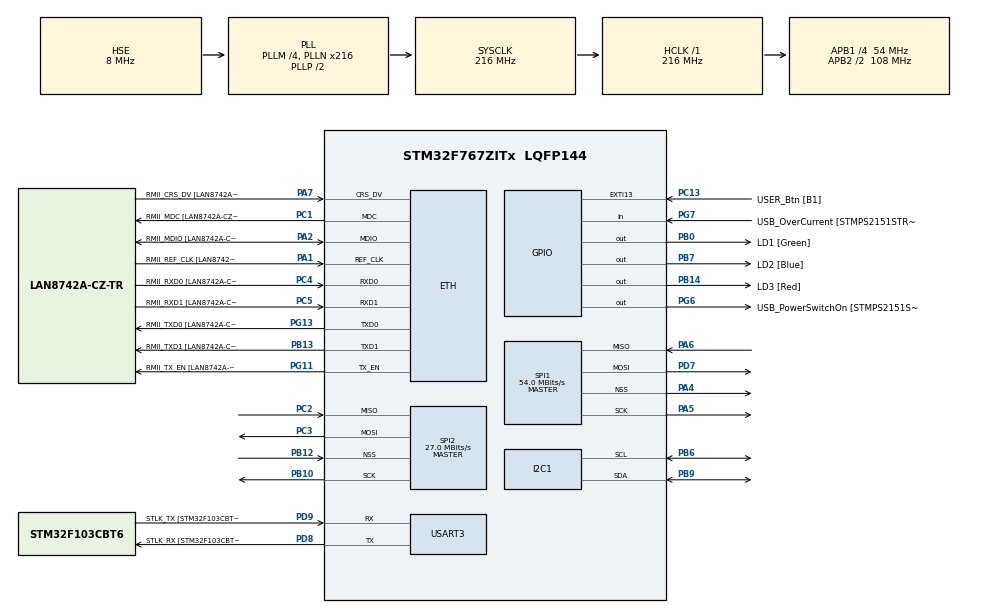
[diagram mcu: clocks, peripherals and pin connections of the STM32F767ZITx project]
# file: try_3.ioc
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PD7.Mode=Full_Duplex_Master
VP_TIM5_VS_ClockSourceINT.Mode=Internal
SPI1.VirtualType=VM_MASTER
SPI2.VirtualType=VM_MASTER
PB10.Mode=Full_Duplex_Master
PB14.GPIO_Label=LD3 [Red]
PG6.GPIO_Label=USB_PowerSwitchOn [STMPS2151STR_EN]
PA14.GPIO_Label=TCK
VP_RTC_VS_RTC_Activate.Mode=RTC_Enabled
PC5.Mode=RMII
PB13.Signal=ETH_TXD1
PG13.Signal=ETH_TXD0
RCC.SYSCLKSource=RCC_SYSCLKSOURCE_PLLCLK
LWIP.LWIP_HTTPD=1
USART3.VirtualMode-Asynchronous=VM_ASYNC
PA4.Mode=NSS_Signal_Hard_Output
NVIC.TIM5_IRQn=true\:5\:0\:false\:false\:true\:true\:true\:true
SPI1.Direction=SPI_DIRECTION_2LINES
RCC.APB2TimFreq_Value=216000000
PB6.Signal=I2C1_SCL
PH1/OSC_OUT.Signal=RCC_OSC_OUT
PB6.Mode=I2C
SPI1.CalculateBaudRate=54.0 MBits/s
PC3.Signal=SPI2_MOSI
PD8.Signal=USART3_TX
PC4.GPIO_Label=RMII_RXD0 [LAN8742A-CZ-TR_RXD0]
NVIC.TIM2_IRQn=true\:5\:0\:false\:false\:true\:true\:true\:true
SPI2.CalculateBaudRate=27.0 MBits/s
PA8.Signal=USB_OTG_FS_SOF
SPI1.VirtualNSS=VM_NSSHARD
ETH.PHY_Name=LAN8742A_PHY_ADDRESS
VP_FREERTOS_VS_CMSIS_V1.Mode=CMSIS_V1
Mcu.Package=LQFP144
PB9.Signal=I2C1_SDA
NVIC.TimeBase=TIM4_IRQn
SPI2.Mode=SPI_MODE_MASTER
NVIC.TimeBaseIP=TIM4
PA10.Signal=USB_OTG_FS_ID
VP_RTC_VS_RTC_Calendar.Mode=RTC_Calendar
RCC.APB2CLKDivider=RCC_HCLK_DIV2
RCC.APB1TimFreq_Value=108000000
PB13.Mode=RMII
PC4.Mode=RMII
PA5.Mode=Full_Duplex_Master
FREERTOS.Tasks01=defaultTask,0,128,StartDefaultTask,Default,NULL,Dynamic,NULL,NULL
PD9.GPIO_Label=STLK_TX [STM32F103CBT6_PA2]
PC13.Signal=GPXTI13
PA9.GPIO_Label=USB_VBUS
PC2.Signal=SPI2_MISO
PD7.Signal=SPI1_MOSI
PA11.GPIO_Label=USB_DM
LWIP.LWIP_DHCP=0
RCC.APB1CLKDivider=RCC_HCLK_DIV4
PG13.GPIO_Label=RMII_TXD0 [LAN8742A-CZ-TR_TXD0]
PA8.GPIO_Label=USB_SOF [TP1]
PA9.Signal=USB_OTG_FS_VBUS
I2C1.Timing=0x20404768
PD8.Mode=Asynchronous
PB10.Signal=SPI2_SCK
PB14.Signal=GPIO_Output
PA5.Signal=SPI1_SCK
wolfSSL.I-CUBE-wolfSSL.4.7.0.wolfSSLCcwolfSSLJjwolfCryptJjTest=true
PA1.Mode=RMII
RCC.PRESCALERUSB=RCC_USBCLKSOURCE_PLL_DIV1_5
SPI1.Mode=SPI_MODE_MASTER
PG7.GPIO_Label=USB_OverCurrent [STMPS2151STR_FAULT]
PA1.GPIO_Label=RMII_REF_CLK [LAN8742A-CZ-TR_REFCLK0]
PA13.Mode=Serial_Wire
PA4.Signal=SPI1_NSS
ETH.MediaInterface=ETH_MEDIA_INTERFACE_RMII
PG11.Mode=RMII
PA11.Signal=USB_OTG_FS_DM
ProjectManager.HeapSize=0x17800
LWIP.Version=v2.1.2_Cube
VP_SYS_VS_tim4.Mode=TIM4
NVIC.PriorityGroup=NVIC_PRIORITYGROUP_4
PC15/OSC32_OUT.Signal=RCC_OSC32_OUT
PB0.Signal=GPIO_Output
PC1.Signal=ETH_MDC
PC1.Mode=RMII
Mcu.Family=STM32F7
PC3.Mode=Full_Duplex_Master
PA6.Mode=Full_Duplex_Master
SPI2.VirtualNSS=VM_NSSHARD
RCC.CortexFreq_Value=216000000
PG6.Signal=GPIO_Output
RCC.SYSCLKSourceVirtual=RCC_SYSCLKSOURCE_PLLCLK
PB0.GPIO_Label=LD1 [Green]
PC14/OSC32_IN.Mode=LSE-External-Oscillator
PC13.GPIO_Label=USER_Btn [B1]
PB13.GPIO_Label=RMII_TXD1 [LAN8742A-CZ-TR_TXD1]
PD9.Mode=Asynchronous
PG11.Signal=ETH_TX_EN
ProjectManager.StackSize=0x1000
PA12.Signal=USB_OTG_FS_DP
ETH.PHY_Value=0
PH0/OSC_IN.Mode=HSE-External-Clock-Source
RCC.HCLKFreq_Value=216000000
RCC.AHBFreq_Value=216000000
NVIC.ETH_IRQn=true\:5\:0\:false\:false\:true\:true\:false\:true
RCC.HSE_VALUE=8000000
RCC.PLLMUL=RCC_PLL_MUL9
PA14.Mode=Serial_Wire
PA10.GPIO_Label=USB_ID
wolfSSL.I-CUBE-wolfSSL.4.7.0.wolfSSLCcwolfSSLJjwolfCryptJjCore=true
PB7.Signal=GPIO_Output
PG13.Mode=RMII
PH1/OSC_OUT.Mode=HSE-External-Clock-Source
PB7.GPIO_Label=LD2 [Blue]
PA6.Signal=SPI1_MISO
PB12.Mode=NSS_Signal_Hard_Input
PC14/OSC32_IN.Signal=RCC_OSC32_IN
PA2.GPIO_Label=RMII_MDIO [LAN8742A-CZ-TR_MDIO]
PG11.GPIO_Label=RMII_TX_EN [LAN8742A-CZ-TR_TXEN]
SPI2.Direction=SPI_DIRECTION_2LINES
PC5.Signal=ETH_RXD1
PB3.GPIO_Label=SWO
RCC.PLLSourceVirtual=RCC_PLLSOURCE_HSE
CORTEX_M7.CPU_ICache=Enabled
PA7.Mode=RMII
PG7.Signal=GPIO_Input
wolfSSL.I-CUBE-wolfSSL.4.7.0.wolfSSLCcwolfSSLJjwolfSSLJjCore=true
PC4.Signal=ETH_RXD0
PC2.Mode=Full_Duplex_Master
PD9.Signal=USART3_RX
VP_RNG_VS_RNG.Mode=RNG_Activate
ETH.PhyAddress=0
PA12.GPIO_Label=USB_DP
VP_LWIP_VS_Enabled.Mode=Enabled
LWIP.LWIP_DNS=1
PD8.GPIO_Label=STLK_RX [STM32F103CBT6_PA3]
PA13.Signal=SYS_JTMS-SWDIO
CORTEX_M7.MPU_Control=MPU_HFNMI_PRIVDEF
ProjectManager.TargetToolchain=TrueSTUDIO
PB9.Mode=I2C
RCC.USBFreq_Value=48000000
PA1.Signal=ETH_REF_CLK
board=NUCLEO-F767ZI
RCC.VCOOutputFreq_Value=432000000
PH0/OSC_IN.Signal=RCC_OSC_IN
RCC.APB2Freq_Value=108000000
VP_TIM2_VS_ClockSourceINT.Mode=Internal
PC1.GPIO_Label=RMII_MDC [LAN8742A-CZ-TR_MDC]
Mcu.Name=STM32F767ZITx
PA2.Signal=ETH_MDIO
PA13.GPIO_Label=TMS
RCC.48MHZClocksFreq_Value=24000000
PB3.Signal=SYS_JTDO-SWO
RCC.SYSCLKFreq_VALUE=216000000
PA7.GPIO_Label=RMII_CRS_DV [LAN8742A-CZ-TR_CRS_DV]
PC5.GPIO_Label=RMII_RXD1 [LAN8742A-CZ-TR_RXD1]
PC15/OSC32_OUT.Mode=LSE-External-Oscillator
PA14.Signal=SYS_JTCK-SWCLK
RCC.HSI_VALUE=16000000
PH0/OSC_IN.GPIO_Label=MCO [STM32F103CBT6_PA8]
RCC.PLLQ=9
RCC.PLLM=4
RCC.PLLN=216
PA2.Mode=RMII
CORTEX_M7.CPU_DCache=Enabled
NVIC.TIM4_IRQn=true\:0\:0\:false\:false\:true\:false\:false\:true
RCC.APB1Freq_Value=54000000
PB12.Signal=SPI2_NSS
PA7.Signal=ETH_CRS_DV
VP_wolfSSL.I-CUBE-wolfSSL_VS_wolfSSLJjwolfSSL_4.7.0.Mode=wolfSSLJjwolfSSL

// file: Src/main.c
/* USER CODE BEGIN Header */
/**
  ******************************************************************************
  * @file           : main.c
  * @brief          : Main program body
  ******************************************************************************
  * @attention
  *
  * <h2><center>&copy; Copyright (c) 2021 STMicroelectronics.
  * All rights reserved.</center></h2>
  *
  * This software component is licensed by ST under Ultimate Liberty license
  * SLA0044, the "License"; You may not use this file except in compliance with
  * the License. You may obtain a copy of the License at:
  *                             www.st.com/SLA0044
  *
  ******************************************************************************
  */
/* USER CODE END Header */
#include "main.h"
#include "cmsis_os.h"
#include "lwip.h"

/* USER CODE BEGIN Includes */
#include "lwip/apps/http_client.h"
#include <stdbool.h>
/* USER CODE END Includes */

I2C_HandleTypeDef hi2c1;

RNG_HandleTypeDef hrng;

RTC_HandleTypeDef hrtc;

SPI_HandleTypeDef hspi1;
SPI_HandleTypeDef hspi2;

TIM_HandleTypeDef htim2;
TIM_HandleTypeDef htim5;

UART_HandleTypeDef huart3;

osThreadId defaultTaskHandle;
/* USER CODE BEGIN PV */
char buf[100];
/* USER CODE END PV */

void SystemClock_Config(void);
static void MPU_Config(void);
static void MX_GPIO_Init(void);
static void MX_I2C1_Init(void);
static void MX_RNG_Init(void);
static void MX_RTC_Init(void);
static void MX_SPI1_Init(void);
static void MX_SPI2_Init(void);
static void MX_TIM2_Init(void);
static void MX_TIM5_Init(void);
static void MX_USART3_UART_Init(void);
void StartDefaultTask(void const * argument);

/* USER CODE BEGIN PFP */
void HttpClientResultCallback (void *arg, httpc_result_t httpc_result, u32_t
rx_content_len, u32_t srv_res, err_t err) ;
err_t RecvHttpHeaderCallback (httpc_state_t *connection, void *arg, struct
pbuf *hdr, u16_t hdr_len, u32_t content_len);
bool timerequestflag=false;
char timerbuffer[275];
uint8_t aShowTime[50] = {0};
RTC_TimeTypeDef sTime = {0};
RTC_DateTypeDef sDate = {0};
uint8_t aShowDate[50] = {0};
static void RTC_CalendarShow(uint8_t *showtime, uint8_t *showdate);
/* USER CODE END PFP */

/* USER CODE BEGIN 0 */

#if (defined(__GNUC__) && !defined(__CC_ARM))
/* With GCC/RAISONANCE, small printf (option LD Linker->Libraries->Small printf
   set to 'Yes') calls __io_putchar() */
#define PUTCHAR_PROTOTYPE int __io_putchar(int ch)
#define GETCHAR_PROTOTYPE int __io_getchar(void)
#else
#define PUTCHAR_PROTOTYPE int fputc(int ch, FILE *f)
#define GETCHAR_PROTOTYPE int fgetc(FILE *f)
#endif /* __GNUC__ */

/**
  * @brief  Retargets the C library printf function to the USART.
  * @param  None
  * @retval None
  */
PUTCHAR_PROTOTYPE
{
  /* Place your implementation of fputc here */
  /* e.g. write a character to the USART2 and Loop until the end of transmission */
  while (HAL_OK != HAL_UART_Transmit(&huart3, (uint8_t *) &ch, 1, 30000))
  {
    ;
  }
  return ch;
}

/**
  * @brief  Retargets the C library scanf function to the USART.
  * @param  None
  * @retval None
  */
GETCHAR_PROTOTYPE
{
  /* Place your implementation of fgetc here */
  /* e.g. read a character on USART and loop until the end of read */
  uint8_t ch = 0;
  while (HAL_OK != HAL_UART_Receive(&huart3, (uint8_t *)&ch, 1, 30000))
  {
    ;
  }
  return ch;
}
ip4_addr_t resolved;
static void RTC_CalendarShow(uint8_t *showtime, uint8_t *showdate)
{
  RTC_DateTypeDef sdatestructureget;
  RTC_TimeTypeDef stimestructureget;

  /* Get the RTC current Time */
  HAL_RTC_GetTime(&hrtc, &stimestructureget, RTC_FORMAT_BIN);
  /* Get the RTC current Date */
  HAL_RTC_GetDate(&hrtc, &sdatestructureget, RTC_FORMAT_BIN);
  /* Display time Format : hh:mm:ss */
  sprintf((char *)showtime, "time %d:%d:%d\n\r", stimestructureget.Hours, stimestructureget.Minutes, stimestructureget.Seconds);
  HAL_UART_Transmit(&huart3,showtime,strlen(showtime),1000);
  /* Display date Format : mm-dd-yy */
  sprintf((char *)showdate, "date %d-%d-%d\n\r", sdatestructureget.Date, sdatestructureget.Month,sdatestructureget.Year);
	HAL_UART_Transmit(&huart3,showdate,strlen(showdate),1000);

}
/* USER CODE END 0 */

int main(void)
{

  /* MPU Configuration--------------------------------------------------------*/
  MPU_Config();

  /* Enable I-Cache---------------------------------------------------------*/
  SCB_EnableICache();

  /* Enable D-Cache---------------------------------------------------------*/
  SCB_EnableDCache();

  /* MCU Configuration--------------------------------------------------------*/

  /* Reset of all peripherals, Initializes the Flash interface and the Systick. */
  HAL_Init();

  /* Configure the system clock */
  SystemClock_Config();

  /* Initialize all configured peripherals */
  MX_GPIO_Init();
  MX_I2C1_Init();
  MX_RNG_Init();
  MX_RTC_Init();
  MX_SPI1_Init();
  MX_SPI2_Init();
  MX_TIM2_Init();
  MX_TIM5_Init();
  MX_USART3_UART_Init();

  /* Create the thread(s) */
  /* definition and creation of defaultTask */
  osThreadDef(defaultTask, StartDefaultTask, osPriorityNormal, 0, 1024);
  defaultTaskHandle = osThreadCreate(osThread(defaultTask), NULL);

  /* Start scheduler */
  osKernelStart();

  /* We should never get here as control is now taken by the scheduler */
  /* Infinite loop */
  while (1)
  {

  }
}

void SystemClock_Config(void)
{
  RCC_OscInitTypeDef RCC_OscInitStruct = {0};
  RCC_ClkInitTypeDef RCC_ClkInitStruct = {0};
  RCC_PeriphCLKInitTypeDef PeriphClkInitStruct = {0};

  /** Configure LSE Drive Capability
  */
  HAL_PWR_EnableBkUpAccess();
  /** Configure the main internal regulator output voltage
  */
  __HAL_RCC_PWR_CLK_ENABLE();
  __HAL_PWR_VOLTAGESCALING_CONFIG(PWR_REGULATOR_VOLTAGE_SCALE1);
  /** Initializes the RCC Oscillators according to the specified parameters
  * in the RCC_OscInitTypeDef structure.
  */
  RCC_OscInitStruct.OscillatorType = RCC_OSCILLATORTYPE_LSI|RCC_OSCILLATORTYPE_HSE;
  RCC_OscInitStruct.HSEState = RCC_HSE_BYPASS;
  RCC_OscInitStruct.LSIState = RCC_LSI_ON;
  RCC_OscInitStruct.PLL.PLLState = RCC_PLL_ON;
  RCC_OscInitStruct.PLL.PLLSource = RCC_PLLSOURCE_HSE;
  RCC_OscInitStruct.PLL.PLLM = 4;
  RCC_OscInitStruct.PLL.PLLN = 216;
  RCC_OscInitStruct.PLL.PLLP = RCC_PLLP_DIV2;
  RCC_OscInitStruct.PLL.PLLQ = 9;
  if (HAL_RCC_OscConfig(&RCC_OscInitStruct) != HAL_OK)
  {
    Error_Handler();
  }
  /** Activate the Over-Drive mode
  */
  if (HAL_PWREx_EnableOverDrive() != HAL_OK)
  {
    Error_Handler();
  }
  /** Initializes the CPU, AHB and APB buses clocks
  */
  RCC_ClkInitStruct.ClockType = RCC_CLOCKTYPE_HCLK|RCC_CLOCKTYPE_SYSCLK
                              |RCC_CLOCKTYPE_PCLK1|RCC_CLOCKTYPE_PCLK2;
  RCC_ClkInitStruct.SYSCLKSource = RCC_SYSCLKSOURCE_PLLCLK;
  RCC_ClkInitStruct.AHBCLKDivider = RCC_SYSCLK_DIV1;
  RCC_ClkInitStruct.APB1CLKDivider = RCC_HCLK_DIV4;
  RCC_ClkInitStruct.APB2CLKDivider = RCC_HCLK_DIV2;

  if (HAL_RCC_ClockConfig(&RCC_ClkInitStruct, FLASH_LATENCY_7) != HAL_OK)
  {
    Error_Handler();
  }
  PeriphClkInitStruct.PeriphClockSelection = RCC_PERIPHCLK_RTC|RCC_PERIPHCLK_USART3
                              |RCC_PERIPHCLK_I2C1|RCC_PERIPHCLK_CLK48;
  PeriphClkInitStruct.RTCClockSelection = RCC_RTCCLKSOURCE_LSI;
  PeriphClkInitStruct.Usart3ClockSelection = RCC_USART3CLKSOURCE_PCLK1;
  PeriphClkInitStruct.I2c1ClockSelection = RCC_I2C1CLKSOURCE_PCLK1;
  PeriphClkInitStruct.Clk48ClockSelection = RCC_CLK48SOURCE_PLL;
  if (HAL_RCCEx_PeriphCLKConfig(&PeriphClkInitStruct) != HAL_OK)
  {
    Error_Handler();
  }
}

static void MX_I2C1_Init(void)
{

  hi2c1.Instance = I2C1;
  hi2c1.Init.Timing = 0x20404768;
  hi2c1.Init.OwnAddress1 = 0;
  hi2c1.Init.AddressingMode = I2C_ADDRESSINGMODE_7BIT;
  hi2c1.Init.DualAddressMode = I2C_DUALADDRESS_DISABLE;
  hi2c1.Init.OwnAddress2 = 0;
  hi2c1.Init.OwnAddress2Masks = I2C_OA2_NOMASK;
  hi2c1.Init.GeneralCallMode = I2C_GENERALCALL_DISABLE;
  hi2c1.Init.NoStretchMode = I2C_NOSTRETCH_DISABLE;
  if (HAL_I2C_Init(&hi2c1) != HAL_OK)
  {
    Error_Handler();
  }
  /** Configure Analogue filter
  */
  if (HAL_I2CEx_ConfigAnalogFilter(&hi2c1, I2C_ANALOGFILTER_ENABLE) != HAL_OK)
  {
    Error_Handler();
  }
  /** Configure Digital filter
  */
  if (HAL_I2CEx_ConfigDigitalFilter(&hi2c1, 0) != HAL_OK)
  {
    Error_Handler();
  }

}

static void MX_RNG_Init(void)
{

  hrng.Instance = RNG;
  if (HAL_RNG_Init(&hrng) != HAL_OK)
  {
    Error_Handler();
  }

}

static void MX_RTC_Init(void)
{

  RTC_TimeTypeDef sTime = {0};
  RTC_DateTypeDef sDate = {0};

  /** Initialize RTC Only
  */
  hrtc.Instance = RTC;
  hrtc.Init.HourFormat = RTC_HOURFORMAT_24;
  hrtc.Init.AsynchPrediv = 127;
  hrtc.Init.SynchPrediv = 255;
  hrtc.Init.OutPut = RTC_OUTPUT_DISABLE;
  hrtc.Init.OutPutPolarity = RTC_OUTPUT_POLARITY_HIGH;
  hrtc.Init.OutPutType = RTC_OUTPUT_TYPE_OPENDRAIN;
  if (HAL_RTC_Init(&hrtc) != HAL_OK)
  {
    Error_Handler();
  }

  /** Initialize RTC and set the Time and Date
  */
  sTime.Hours = 0x0;
  sTime.Minutes = 0x0;
  sTime.Seconds = 0x0;
  sTime.DayLightSaving = RTC_DAYLIGHTSAVING_NONE;
  sTime.StoreOperation = RTC_STOREOPERATION_RESET;
  if (HAL_RTC_SetTime(&hrtc, &sTime, RTC_FORMAT_BCD) != HAL_OK)
  {
    Error_Handler();
  }
  sDate.WeekDay = RTC_WEEKDAY_MONDAY;
  sDate.Month = RTC_MONTH_JANUARY;
  sDate.Date = 0x1;
  sDate.Year = 0x0;

  if (HAL_RTC_SetDate(&hrtc, &sDate, RTC_FORMAT_BCD) != HAL_OK)
  {
    Error_Handler();
  }

}

static void MX_SPI1_Init(void)
{

  /* SPI1 parameter configuration*/
  hspi1.Instance = SPI1;
  hspi1.Init.Mode = SPI_MODE_MASTER;
  hspi1.Init.Direction = SPI_DIRECTION_2LINES;
  hspi1.Init.DataSize = SPI_DATASIZE_4BIT;
  hspi1.Init.CLKPolarity = SPI_POLARITY_LOW;
  hspi1.Init.CLKPhase = SPI_PHASE_1EDGE;
  hspi1.Init.NSS = SPI_NSS_HARD_OUTPUT;
  hspi1.Init.BaudRatePrescaler = SPI_BAUDRATEPRESCALER_2;
  hspi1.Init.FirstBit = SPI_FIRSTBIT_MSB;
  hspi1.Init.TIMode = SPI_TIMODE_DISABLE;
  hspi1.Init.CRCCalculation = SPI_CRCCALCULATION_DISABLE;
  hspi1.Init.CRCPolynomial = 7;
  hspi1.Init.CRCLength = SPI_CRC_LENGTH_DATASIZE;
  hspi1.Init.NSSPMode = SPI_NSS_PULSE_ENABLE;
  if (HAL_SPI_Init(&hspi1) != HAL_OK)
  {
    Error_Handler();
  }

}

static void MX_SPI2_Init(void)
{

  /* SPI2 parameter configuration*/
  hspi2.Instance = SPI2;
  hspi2.Init.Mode = SPI_MODE_MASTER;
  hspi2.Init.Direction = SPI_DIRECTION_2LINES;
  hspi2.Init.DataSize = SPI_DATASIZE_4BIT;
  hspi2.Init.CLKPolarity = SPI_POLARITY_LOW;
  hspi2.Init.CLKPhase = SPI_PHASE_1EDGE;
  hspi2.Init.NSS = SPI_NSS_HARD_INPUT;
  hspi2.Init.BaudRatePrescaler = SPI_BAUDRATEPRESCALER_2;
  hspi2.Init.FirstBit = SPI_FIRSTBIT_MSB;
  hspi2.Init.TIMode = SPI_TIMODE_DISABLE;
  hspi2.Init.CRCCalculation = SPI_CRCCALCULATION_DISABLE;
  hspi2.Init.CRCPolynomial = 7;
  hspi2.Init.CRCLength = SPI_CRC_LENGTH_DATASIZE;
  hspi2.Init.NSSPMode = SPI_NSS_PULSE_ENABLE;
  if (HAL_SPI_Init(&hspi2) != HAL_OK)
  {
    Error_Handler();
  }

}

static void MX_TIM2_Init(void)
{

  TIM_ClockConfigTypeDef sClockSourceConfig = {0};
  TIM_MasterConfigTypeDef sMasterConfig = {0};

  htim2.Instance = TIM2;
  htim2.Init.Prescaler = 0;
  htim2.Init.CounterMode = TIM_COUNTERMODE_UP;
  htim2.Init.Period = 4294967295;
  htim2.Init.ClockDivision = TIM_CLOCKDIVISION_DIV1;
  htim2.Init.AutoReloadPreload = TIM_AUTORELOAD_PRELOAD_DISABLE;
  if (HAL_TIM_Base_Init(&htim2) != HAL_OK)
  {
    Error_Handler();
  }
  sClockSourceConfig.ClockSource = TIM_CLOCKSOURCE_INTERNAL;
  if (HAL_TIM_ConfigClockSource(&htim2, &sClockSourceConfig) != HAL_OK)
  {
    Error_Handler();
  }
  sMasterConfig.MasterOutputTrigger = TIM_TRGO_RESET;
  sMasterConfig.MasterSlaveMode = TIM_MASTERSLAVEMODE_DISABLE;
  if (HAL_TIMEx_MasterConfigSynchronization(&htim2, &sMasterConfig) != HAL_OK)
  {
    Error_Handler();
  }

}

static void MX_TIM5_Init(void)
{

  TIM_ClockConfigTypeDef sClockSourceConfig = {0};
  TIM_MasterConfigTypeDef sMasterConfig = {0};

  htim5.Instance = TIM5;
  htim5.Init.Prescaler = 0;
  htim5.Init.CounterMode = TIM_COUNTERMODE_UP;
  htim5.Init.Period = 4294967295;
  htim5.Init.ClockDivision = TIM_CLOCKDIVISION_DIV1;
  htim5.Init.AutoReloadPreload = TIM_AUTORELOAD_PRELOAD_DISABLE;
  if (HAL_TIM_Base_Init(&htim5) != HAL_OK)
  {
    Error_Handler();
  }
  sClockSourceConfig.ClockSource = TIM_CLOCKSOURCE_INTERNAL;
  if (HAL_TIM_ConfigClockSource(&htim5, &sClockSourceConfig) != HAL_OK)
  {
    Error_Handler();
  }
  sMasterConfig.MasterOutputTrigger = TIM_TRGO_RESET;
  sMasterConfig.MasterSlaveMode = TIM_MASTERSLAVEMODE_DISABLE;
  if (HAL_TIMEx_MasterConfigSynchronization(&htim5, &sMasterConfig) != HAL_OK)
  {
    Error_Handler();
  }

}

static void MX_USART3_UART_Init(void)
{

  huart3.Instance = USART3;
  huart3.Init.BaudRate = 115200;
  huart3.Init.WordLength = UART_WORDLENGTH_8B;
  huart3.Init.StopBits = UART_STOPBITS_1;
  huart3.Init.Parity = UART_PARITY_NONE;
  huart3.Init.Mode = UART_MODE_TX_RX;
  huart3.Init.HwFlowCtl = UART_HWCONTROL_NONE;
  huart3.Init.OverSampling = UART_OVERSAMPLING_16;
  huart3.Init.OneBitSampling = UART_ONE_BIT_SAMPLE_DISABLE;
  huart3.AdvancedInit.AdvFeatureInit = UART_ADVFEATURE_NO_INIT;
  if (HAL_UART_Init(&huart3) != HAL_OK)
  {
    Error_Handler();
  }

}

static void MX_GPIO_Init(void)
{
  GPIO_InitTypeDef GPIO_InitStruct = {0};

  /* GPIO Ports Clock Enable */
  __HAL_RCC_GPIOC_CLK_ENABLE();
  __HAL_RCC_GPIOH_CLK_ENABLE();
  __HAL_RCC_GPIOA_CLK_ENABLE();
  __HAL_RCC_GPIOB_CLK_ENABLE();
  __HAL_RCC_GPIOD_CLK_ENABLE();
  __HAL_RCC_GPIOG_CLK_ENABLE();

  /*Configure GPIO pin Output Level */
  HAL_GPIO_WritePin(GPIOB, LD1_Pin|LD3_Pin|LD2_Pin, GPIO_PIN_RESET);

  /*Configure GPIO pin Output Level */
  HAL_GPIO_WritePin(USB_PowerSwitchOn_GPIO_Port, USB_PowerSwitchOn_Pin, GPIO_PIN_RESET);

  /*Configure GPIO pin : USER_Btn_Pin */
  GPIO_InitStruct.Pin = USER_Btn_Pin;
  GPIO_InitStruct.Mode = GPIO_MODE_IT_RISING;
  GPIO_InitStruct.Pull = GPIO_NOPULL;
  HAL_GPIO_Init(USER_Btn_GPIO_Port, &GPIO_InitStruct);

  /*Configure GPIO pins : LD1_Pin LD3_Pin LD2_Pin */
  GPIO_InitStruct.Pin = LD1_Pin|LD3_Pin|LD2_Pin;
  GPIO_InitStruct.Mode = GPIO_MODE_OUTPUT_PP;
  GPIO_InitStruct.Pull = GPIO_NOPULL;
  GPIO_InitStruct.Speed = GPIO_SPEED_FREQ_LOW;
  HAL_GPIO_Init(GPIOB, &GPIO_InitStruct);

  /*Configure GPIO pin : USB_PowerSwitchOn_Pin */
  GPIO_InitStruct.Pin = USB_PowerSwitchOn_Pin;
  GPIO_InitStruct.Mode = GPIO_MODE_OUTPUT_PP;
  GPIO_InitStruct.Pull = GPIO_NOPULL;
  GPIO_InitStruct.Speed = GPIO_SPEED_FREQ_LOW;
  HAL_GPIO_Init(USB_PowerSwitchOn_GPIO_Port, &GPIO_InitStruct);

  /*Configure GPIO pin : USB_OverCurrent_Pin */
  GPIO_InitStruct.Pin = USB_OverCurrent_Pin;
  GPIO_InitStruct.Mode = GPIO_MODE_INPUT;
  GPIO_InitStruct.Pull = GPIO_NOPULL;
  HAL_GPIO_Init(USB_OverCurrent_GPIO_Port, &GPIO_InitStruct);

  /*Configure GPIO pins : USB_SOF_Pin USB_ID_Pin USB_DM_Pin USB_DP_Pin */
  GPIO_InitStruct.Pin = USB_SOF_Pin|USB_ID_Pin|USB_DM_Pin|USB_DP_Pin;
  GPIO_InitStruct.Mode = GPIO_MODE_AF_PP;
  GPIO_InitStruct.Pull = GPIO_NOPULL;
  GPIO_InitStruct.Speed = GPIO_SPEED_FREQ_VERY_HIGH;
  GPIO_InitStruct.Alternate = GPIO_AF10_OTG_FS;
  HAL_GPIO_Init(GPIOA, &GPIO_InitStruct);

  /*Configure GPIO pin : USB_VBUS_Pin */
  GPIO_InitStruct.Pin = USB_VBUS_Pin;
  GPIO_InitStruct.Mode = GPIO_MODE_INPUT;
  GPIO_InitStruct.Pull = GPIO_NOPULL;
  HAL_GPIO_Init(USB_VBUS_GPIO_Port, &GPIO_InitStruct);

}

/* USER CODE BEGIN 4 */

err_t RecvpayloadCallback(void *arg, struct tcp_pcb *tpcb, struct pbuf *p,
		err_t err){
	HAL_GPIO_TogglePin(LD1_GPIO_Port,LD1_Pin);
//	sprintf(buf,"RecvpayloadCallback\n");
	// HAL_UART_Transmit(&huart3,buf,strlen(buf),1000);
	 if (p == NULL) {sprintf(buf,"pbuf==Null\n");
	 HAL_UART_Transmit(&huart3,buf,strlen(buf),1000);
	 }
	 else{
		 strncpy(timerbuffer, p->payload, 270);
		 sprintf(buf,"timerbuffer :%s\n\r",timerbuffer);
	HAL_UART_Transmit(&huart3,buf,strlen(buf),1000);
	 }
	 timerequestflag=true;

	 pbuf_free(p);
	 return ERR_OK;
}
err_t RecvHttpHeaderCallback (httpc_state_t *connection, void *arg, struct
pbuf *hdr, u16_t hdr_len, u32_t content_len) {
	HAL_GPIO_TogglePin(LD2_GPIO_Port,LD2_Pin);
   sprintf(buf,"RecvHttpHeaderCallback error");
	HAL_UART_Transmit(&huart3,buf,strlen(buf),1000);
   return ERR_OK;
}
void HttpClientResultCallback (void *arg, httpc_result_t httpc_result, u32_t
rx_content_len, u32_t srv_res, err_t err) {
	HAL_GPIO_TogglePin(LD3_GPIO_Port,LD3_Pin);
	sprintf(buf,"HttpClientResultCallback \n\r");
	HAL_UART_Transmit(&huart3,buf,strlen(buf),1000);
	sprintf(buf,"httpc_result: %u\n", httpc_result);
	HAL_UART_Transmit(&huart3,buf,strlen(buf),1000);
	sprintf(buf,"received number of bytes: %lu\n", rx_content_len);

}

/* USER CODE END 4 */

void StartDefaultTask(void const * argument)
{
  /* init code for LWIP */
	volatile uint8_t years[2], Month[2], hours[2], mintues[2], days[2], second[2];

  MX_LWIP_Init();

  /* USER CODE BEGIN 5 */
  int i;
   int r;
 // httpd_init();

   uint16_t years_int, Month_int, hours_int, mintues_int, days_int, second_int;
  char url[500];
  char domain_name[30];
  volatile uint16_t h=0;
  httpc_connection_t *conn_settings;
  httpc_state_t *connection;
  conn_settings->use_proxy = 0;   //no proxy usage
  conn_settings->headers_done_fn = RecvHttpHeaderCallback;
  conn_settings->result_fn = HttpClientResultCallback;
  strcpy(domain_name, "api.timezonedb.com");
  strcpy(url, "/v2.1/get-time-zone?key=H77HZBELV1YH&format=json&by=zone&zone=Africa/Cairo");
  sprintf(buf,"url:\n%s\n", url);
  HAL_UART_Transmit(&huart3,buf,strlen(buf),1000);
  HAL_UART_Transmit(&huart3,"\n\r",2,1000);
  err_t error;
  //dns_gethostbyname();
  error = httpc_get_file_dns(domain_name, 80, url, conn_settings,RecvpayloadCallback, NULL, &connection);   //Send HTTP message
  sprintf(buf,"\n\rerror: %d\n", error);
  HAL_UART_Transmit(&huart3,buf,strlen(buf),1000);
  osDelay(5000);
  while(timerequestflag!=true){
  	HAL_GPIO_TogglePin(LD2_GPIO_Port,LD2_Pin);
  	osDelay(50);
  	h++;
  	if(h>800){
  		sprintf(buf,"timeout with dns \n");
  		HAL_UART_Transmit(&huart3,buf,strlen(buf),1000);
  		 timerequestflag=true;
  	}
  }

  char * pch;
  h=0;
  pch = strstr (timerbuffer,"formatted");
  for(int j=0;j<33;j++){
  switch (j){
  case 14:
  years[0] = *(pch);break;
  case 15:
  years[1] = *(pch);break;
  case 17:
  Month[0] = *(pch);break;
  case 18:
  Month[1] = *(pch);break;
  case 20:
  days[0] = *(pch);break;
  case 21:
  days[1] = *(pch);break;
  case 23:
  hours[0] = *(pch);break;
  case 24:
  hours[1] = *(pch);break;
  case 26:
  mintues[0] = *(pch);break;
  case 27:
  mintues[1] = *(pch);break;
  case 29:
  second[0] = *(pch);break;
  case 30:
  second[1] = *(pch);break;
  default:
      break;}
  	*pch++;
  }
  years_int = atoi(years);
  sprintf(buf,"Value years is %d \n\r",years_int);
  HAL_UART_Transmit(&huart3,buf,strlen(buf),1000);
  Month_int = atoi(Month);
  sprintf(buf,"Value  Mon:%d \n\r",Month_int);HAL_UART_Transmit(&huart3,buf,strlen(buf),1000);
  days_int = atoi(days);
  sprintf(buf,"Value  days:%d \n\r",days_int);HAL_UART_Transmit(&huart3,buf,strlen(buf),1000);
  hours_int = atoi(hours);
  sprintf(buf,"Value  ho:%d \n\r",hours_int);HAL_UART_Transmit(&huart3,buf,strlen(buf),1000);
  mintues_int = atoi(mintues);
  sprintf(buf,"Value mintues is %d \n\r",mintues_int);
  HAL_UART_Transmit(&huart3,buf,strlen(buf),1000);
  second_int = atoi(second);
  sprintf(buf,"Value second is %d \n\r",second_int);
  HAL_UART_Transmit(&huart3,buf,strlen(buf),1000);

  if (HAL_RTC_Init(&hrtc) != HAL_OK)
   {
     Error_Handler();
   }

  sDate.Year=years_int;
  sDate.Month=Month_int;
  sDate.Date=days_int;

  if(HAL_RTC_SetDate(&hrtc,&sDate,RTC_FORMAT_BIN) != HAL_OK)
   {
     Error_Handler();
   }
  sTime.Hours=hours_int;
  sTime.Minutes=mintues_int;
  sTime.Seconds=second_int;
  if (HAL_RTC_SetTime(&hrtc, &sTime, RTC_FORMAT_BIN) != HAL_OK)
  {
    Error_Handler();
  }
  /* Infinite loop */
  for(;;)
  {
	// RTC_CalendarShow(aShowTime, aShowDate);
	 HAL_GPIO_TogglePin(LD3_GPIO_Port,LD3_Pin);
	 osDelay(1000);

  }
  /* USER CODE END 5 */
}

/* MPU Configuration */

void MPU_Config(void)
{

  /* Disables the MPU */
	MPU_Region_InitTypeDef MPU_InitStruct;
	/* Disable the MPU */
	HAL_MPU_Disable();
	/* Configure the MPU as Normal Non Cacheable for Ethernet Buffers in the SRAM2 */
	MPU_InitStruct.Enable = MPU_REGION_ENABLE;
	MPU_InitStruct.BaseAddress = 0x2007C000;
	MPU_InitStruct.Size = MPU_REGION_SIZE_16KB;
	MPU_InitStruct.AccessPermission = MPU_REGION_FULL_ACCESS;
	MPU_InitStruct.IsBufferable = MPU_ACCESS_NOT_BUFFERABLE;
	MPU_InitStruct.IsCacheable = MPU_ACCESS_NOT_CACHEABLE;
	MPU_InitStruct.IsShareable = MPU_ACCESS_SHAREABLE;
	MPU_InitStruct.Number = MPU_REGION_NUMBER0;
	MPU_InitStruct.TypeExtField = MPU_TEX_LEVEL1;
	MPU_InitStruct.SubRegionDisable = 0x00;
	MPU_InitStruct.DisableExec = MPU_INSTRUCTION_ACCESS_ENABLE;
	HAL_MPU_ConfigRegion(&MPU_InitStruct);
	/* Configure the MPU as Device for Ethernet Descriptors in the SRAM2 */
	MPU_InitStruct.Enable = MPU_REGION_ENABLE;
	MPU_InitStruct.BaseAddress = 0x2007C000;
	MPU_InitStruct.Size = MPU_REGION_SIZE_256B;
	MPU_InitStruct.AccessPermission = MPU_REGION_FULL_ACCESS;
	MPU_InitStruct.IsBufferable = MPU_ACCESS_BUFFERABLE;
	MPU_InitStruct.IsCacheable = MPU_ACCESS_NOT_CACHEABLE;
	MPU_InitStruct.IsShareable = MPU_ACCESS_SHAREABLE;
	MPU_InitStruct.Number = MPU_REGION_NUMBER1;
	MPU_InitStruct.TypeExtField = MPU_TEX_LEVEL0;
	MPU_InitStruct.SubRegionDisable = 0x00;
	MPU_InitStruct.DisableExec = MPU_INSTRUCTION_ACCESS_ENABLE;
	HAL_MPU_ConfigRegion(&MPU_InitStruct);

		  /* Enable the MPU */
		  HAL_MPU_Enable(MPU_PRIVILEGED_DEFAULT);

}
void HAL_TIM_PeriodElapsedCallback(TIM_HandleTypeDef *htim)
{
  if (htim->Instance == TIM4) {
    HAL_IncTick();
  }
}

void Error_Handler(void)
{
  __disable_irq();
  while (1)
  {
  }
}

/************************ (C) COPYRIGHT STMicroelectronics *****END OF FILE****/
